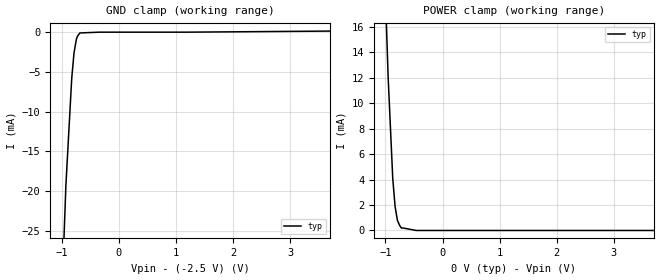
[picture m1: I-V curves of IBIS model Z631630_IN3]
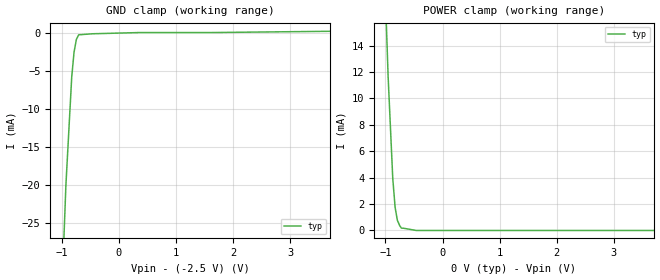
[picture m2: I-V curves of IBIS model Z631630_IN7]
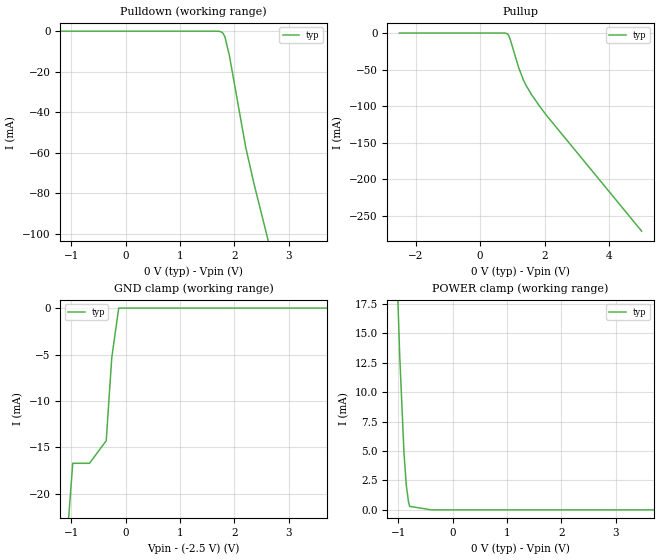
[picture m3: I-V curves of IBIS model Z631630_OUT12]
[IBIS Ver] 3.1
[File Name] mc100lvep210fa_-25.ibs
[File Rev] 3.0
[Source] Measured and created by ICX Technology
[Date] 4/7/2003
[Copyright]
| (C) COPYRIGHT 1993-2000
| MENTOR GRAPHICS CORPORATION
| ICX STANDARD LIBRARY, ICX PROJECT MODELING,
| ICX CUSTOM MODELING, ICX VENDOR MODEL
| ALL RIGHTS RESERVED.
| THE FOLLOWING ARE TRADEMARKS OR SERVICE MARKS OF
| MENTOR GRAPHICS CORPORATION:ICX (R), ICX STANDARD
| LIBRARY(R), ICX PROJECT MODELING(R), ICX CUSTOM
| MODELING(R), qualityIBIS(TM), MODELVIEWER(TM),
| AND MODELEDITOR(TM)
| ALL COPIES OF SOFTWARE, INCLUDING BUT NOT LIMITED TO
| ANY MODIFICATIONS, ENHANCEMENTS OR DERIVATIVE WORKS,
| MUST CONTAIN ALL MENTOR GRAPHICS CORPORATION'S
| NOTICES AND LEGENDS, INCLUDING THOSE EMBEDDED IN
| SOFTWARE AND THOSE AFFIXED TO SOFTWARE MEDIUM
| AND CONTAINER, AS RECEIVED FROM MENTOR GRAPHICS
| CORPORATION.
|  ZAP Model Builder 2.8
[Component] MC100LVEP210FA_-25
[Manufacturer] OnSemiconductor
[Package]
| variable   typ   min   max
R_pkg  .067ohms NA NA
L_pkg  4.211nH NA NA
C_pkg  1.002pF NA NA
[Pin] signal_name  model_name  R_pin  L_pin C_pin
1 VCC POWER .065 3.973n .928p
2 NC NC .066 4.127n .978p
3 CLKA Z631630_IN3 .068 4.288n 1.027p
4 _CLKA Z631630_IN7 .069 4.455n 1.077p
5 VBB POWER .069 4.455n 1.077p
6 CLKB Z631630_IN3 .068 4.288n 1.027p
7 _CLKB Z631630_IN7 .066 4.127n .978p
8 VEE POWER .065 3.973n .928p
9 VCC POWER .065 3.973n .928p
10 _QB4 Z631630_OUT12 .066 4.127n .978p
11 QB4 Z631630_OUT13 .068 4.288n 1.027p
12 _QB3 Z631630_OUT12 .069 4.455n 1.077p
13 QB3 Z631630_OUT13 .069 4.455n 1.077p
14 _QB2 Z631630_OUT12 .068 4.288n 1.027p
15 QB2 Z631630_OUT13 .066 4.127n .978p
16 VCC POWER .065 3.973n .928p
17 _QB1 Z631630_OUT12 .065 3.973n .928p
18 QB1 Z631630_OUT13 .066 4.127n .978p
19 _QB0 Z631630_OUT12 .068 4.288n 1.027p
20 QB0 Z631630_OUT13 .069 4.455n 1.077p
21 _QA4 Z631630_OUT28 .069 4.455n 1.077p
22 QA4 Z631630_OUT29 .068 4.288n 1.027p
23 _QA3 Z631630_OUT28 .066 4.127n .978p
24 QA3 Z631630_OUT29 .065 3.973n .928p
25 VCC POWER .065 3.973n .928p
26 _QA2 Z631630_OUT28 .066 4.127n .978p
27 QA2 Z631630_OUT29 .068 4.288n 1.027p
28 _QA1 Z631630_OUT28 .069 4.455n 1.077p
29 QA1 Z631630_OUT29 .069 4.455n 1.077p
30 _QA0 Z631630_OUT28 .068 4.288n 1.027p
31 QA0 Z631630_OUT29 .066 4.127n .978p
32 VCC POWER .065 3.973n .928p
[Diff Pin] inv_pin vdiff tdelay_typ tdelay_min tdelay_max
11 10 NA .025ns NA .035ns
13 12 NA .025ns NA .035ns
15 14 NA .025ns NA .035ns
18 17 NA .025ns NA .035ns
20 19 NA .025ns NA .035ns
22 21 NA .025ns NA .035ns
24 23 NA .025ns NA .035ns
27 26 NA .025ns NA .035ns
29 28 NA .025ns NA .035ns
3 4 800mv NA NA NA
31 30 NA .025ns NA .035ns
6 7 800mv NA NA NA
| Models and submodels in the file (6): Z631630_IN3 (Input_ECL), Z631630_IN7 (Input_ECL), Z631630_OUT12 (Output_ECL), Z631630_OUT13 (Output_ECL), Z631630_OUT28 (Output_ECL), Z631630_OUT29 (Output_ECL)
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| (C) COPYRIGHT 1993-2000
| MENTOR GRAPHICS CORPORATION
| ICX STANDARD LIBRARY, ICX PROJECT MODELING,
| ICX CUSTOM MODELING, ICX VENDOR MODEL
| ALL RIGHTS RESERVED.
| THE FOLLOWING ARE TRADEMARKS OR SERVICE MARKS OF
| MENTOR GRAPHICS CORPORATION:ICX (R), ICX STANDARD
| LIBRARY(R), ICX PROJECT MODELING(R), ICX CUSTOM
| MODELING(R), qualityIBIS(TM), MODELVIEWER(TM),
| AND MODELEDITOR(TM)
| ALL COPIES OF SOFTWARE, INCLUDING BUT NOT LIMITED TO
| ANY MODIFICATIONS, ENHANCEMENTS OR DERIVATIVE WORKS,
| MUST CONTAIN ALL MENTOR GRAPHICS CORPORATION'S
| NOTICES AND LEGENDS, INCLUDING THOSE EMBEDDED IN
| SOFTWARE AND THOSE AFFIXED TO SOFTWARE MEDIUM
| AND CONTAINER, AS RECEIVED FROM MENTOR GRAPHICS
| CORPORATION.
| Model Application Version 1.89 2/18/99.
[Model] Z631630_IN3
Model_type Input_ECL
Vinl = -1.625V
Vinh = -1.165V
C_comp 1.000pF NA NA
| variable typ   min   max
[Voltage Range] -2.500V NA NA
[GND Clamp Reference] -2.500V NA NA
[POWER Clamp Reference] 0.000V NA NA
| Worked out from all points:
|   GND clamp passes 1 mA (typ) near -0.75 V on its own axis
|   POWER clamp passes 1 mA (typ) near -0.80 V on its own axis
[GND Clamp]
-2.5V     -331.4mA   NA         NA
-926mV    -19.2mA    NA         NA
-824mV    -5.8mA     NA         NA
-784mV    -2.6mA     NA         NA
-743mV    -900uA     NA         NA
-723mV    -500uA     NA         NA
-682mV    -100uA     NA         NA
-341mV    0A         NA         NA
1.193V    0A         NA         NA
5V        207.5uA    NA         NA
[POWER Clamp]
-2.5V     271.2mA    NA         NA
-1.054V   25.87mA    NA         NA
-953mV    12.08mA    NA         NA
-872mV    4.081mA    NA         NA
-831mV    1.883mA    NA         NA
-790mV    785.7uA    NA         NA
-750mV    387.8uA    NA         NA
-719.5mV  191.2uA    NA         NA
-689mV    191.2uA    NA         NA
-459.3mV  0A         NA         NA
5V        0A         NA         NA
| (C) COPYRIGHT 1993-2000
| MENTOR GRAPHICS CORPORATION
| ICX STANDARD LIBRARY, ICX PROJECT MODELING,
| ICX CUSTOM MODELING, ICX VENDOR MODEL
| ALL RIGHTS RESERVED.
| THE FOLLOWING ARE TRADEMARKS OR SERVICE MARKS OF
| MENTOR GRAPHICS CORPORATION:ICX (R), ICX STANDARD
| LIBRARY(R), ICX PROJECT MODELING(R), ICX CUSTOM
| MODELING(R), qualityIBIS(TM), MODELVIEWER(TM),
| AND MODELEDITOR(TM)
| ALL COPIES OF SOFTWARE, INCLUDING BUT NOT LIMITED TO
| ANY MODIFICATIONS, ENHANCEMENTS OR DERIVATIVE WORKS,
| MUST CONTAIN ALL MENTOR GRAPHICS CORPORATION'S
| NOTICES AND LEGENDS, INCLUDING THOSE EMBEDDED IN
| SOFTWARE AND THOSE AFFIXED TO SOFTWARE MEDIUM
| AND CONTAINER, AS RECEIVED FROM MENTOR GRAPHICS
| CORPORATION.
| Model Application Version 1.89 2/18/99.
[Model] Z631630_IN7
Model_type Input_ECL
Vinl = -1.625V
Vinh = -1.165V
C_comp 1.000pF NA NA
| variable typ   min   max
[Voltage Range] -2.500V NA NA
[GND Clamp Reference] -2.500V NA NA
[POWER Clamp Reference] 0.000V NA NA
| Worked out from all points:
|   GND clamp passes 1 mA (typ) near -0.75 V on its own axis
|   POWER clamp passes 1 mA (typ) near -0.80 V on its own axis
[GND Clamp]
-2.5V     -411.6mA   NA         NA
-1.007V   -36.1mA    NA         NA
-926mV    -20mA      NA         NA
-824mV    -5.8mA     NA         NA
-784mV    -2.6mA     NA         NA
-743mV    -900uA     NA         NA
-703mV    -300uA     NA         NA
-468.7mV  -161.8uA   NA         NA
351mV     0A         NA         NA
1.608V    0A         NA         NA
5V        269.8uA    NA         NA
[POWER Clamp]
-2.5V     258.1mA    NA         NA
-1.034V   22.05mA    NA         NA
-953mV    11.65mA    NA         NA
-872mV    3.96mA     NA         NA
-831mV    1.763mA    NA         NA
-791mV    766.1uA    NA         NA
-750mV    369.4uA    NA         NA
-719.5mV  174.2uA    NA         NA
-689mV    174.2uA    NA         NA
-459.3mV  0A         NA         NA
5V        0A         NA         NA
| (C) COPYRIGHT 1993-2000
| MENTOR GRAPHICS CORPORATION
| ICX STANDARD LIBRARY, ICX PROJECT MODELING,
| ICX CUSTOM MODELING, ICX VENDOR MODEL
| ALL RIGHTS RESERVED.
| THE FOLLOWING ARE TRADEMARKS OR SERVICE MARKS OF
| MENTOR GRAPHICS CORPORATION:ICX (R), ICX STANDARD
| LIBRARY(R), ICX PROJECT MODELING(R), ICX CUSTOM
| MODELING(R), qualityIBIS(TM), MODELVIEWER(TM),
| AND MODELEDITOR(TM)
| ALL COPIES OF SOFTWARE, INCLUDING BUT NOT LIMITED TO
| ANY MODIFICATIONS, ENHANCEMENTS OR DERIVATIVE WORKS,
| MUST CONTAIN ALL MENTOR GRAPHICS CORPORATION'S
| NOTICES AND LEGENDS, INCLUDING THOSE EMBEDDED IN
| SOFTWARE AND THOSE AFFIXED TO SOFTWARE MEDIUM
| AND CONTAINER, AS RECEIVED FROM MENTOR GRAPHICS
| CORPORATION.
| Model Application Version 1.89 2/18/99.
[Model] Z631630_OUT12
Model_type Output_ECL
Vref=-2.000V
Rref=50.00ohms
Cref=0.000F
Vmeas=-1.400V
C_comp 1.000pF NA NA
| variable typ   min   max
[Voltage Range] -2.500V NA NA
[POWER Clamp Reference] 0.000V NA NA
[Pullup Reference] 0.000V NA NA
[Pulldown Reference] 0.000V NA NA
[GND Clamp Reference] -2.500V NA NA
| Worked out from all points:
|   GND clamp passes 1 mA (typ) near -0.15 V on its own axis
|   POWER clamp passes 1 mA (typ) near -0.82 V on its own axis
[GND Clamp]
-2.5V     -136.3mA   NA         NA
-974.2mV  -16.7mA    NA         NA
-666.1mV  -16.7mA    NA         NA
-358mV    -14.27mA   NA         NA
-257mV    -5.382mA   NA         NA
-128.5mV  0A         NA         NA
5V        0A         NA         NA
[Pulldown]
-2.5V     0A         NA         NA
1.703V    0A         NA         NA
1.743V    -200uA     NA         NA
1.784V    -800uA     NA         NA
1.824V    -2.7mA     NA         NA
1.906V    -11.9mA    NA         NA
2.209V    -57.6mA    NA         NA
2.371V    -76.7mA    NA         NA
5V        -358.1mA   NA         NA
[Pullup]
-2.5V     0A         NA         NA
750mV     0A         NA         NA
851mV     -1.5mA     NA         NA
892mV     -4.3mA     NA         NA
932mV     -9mA       NA         NA
1.196V    -47.8mA    NA         NA
1.338V    -64.1mA    NA         NA
1.419V    -71.5mA    NA         NA
1.581V    -83.6mA    NA         NA
2.047V    -112.3mA   NA         NA
5V        -271.1mA   NA         NA
[POWER Clamp]
-2.5V     269.8mA    NA         NA
-1.095V   30.5mA     NA         NA
-973mV    13.2mA     NA         NA
-892mV    4.7mA      NA         NA
-851mV    2.1mA      NA         NA
-811mV    700uA      NA         NA
-791mV    300uA      NA         NA
-395.5mV  0A         NA         NA
5V        0A         NA         NA
[Ramp]
| variable typ min max
dV/dt_r 494.5m/144.5p NA NA
dV/dt_f 494.5m/140.1p NA NA
R_load = 50.00Ohms
